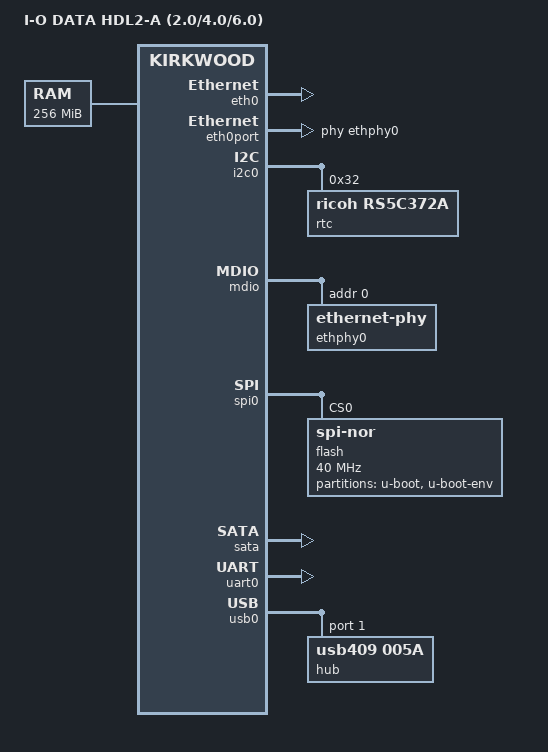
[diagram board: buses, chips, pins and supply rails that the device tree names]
// SPDX-License-Identifier: GPL-2.0-or-later OR MIT

/dts-v1/;

#include "kirkwood.dtsi"
#include "kirkwood-6282.dtsi"

/ {
	model = "I-O DATA HDL2-A (2.0/4.0/6.0)";
	compatible = "iodata,hdl2-a", "marvell,kirkwood-88f6282", "marvell,kirkwood";

/*	aliases {
		led-boot = &led_status_green;
		led-failsafe = &led_status_red;
		led-running = &led_status_green;
		led-upgrade = &led_status_red;
	};*/

	chosen {
		bootargs = "console=ttyS0,115200";
		stdout-path = &uart0;
	};

	memory@0 {
		device_type = "memory";
		reg = <0x00000000 0x10000000>;
	};

/*	keys {
		compatible = "gpio-keys";
		pinctrl-0 = <&pmx_buttons>;
		pinctrl-names = "default";

		power {
			label = "Power Button";
			linux,code = <KEY_POWER>;
			gpios = <&gpio1 16 GPIO_ACTIVE_HIGH>;
		};

		reset {
			label = "Reset Button";
			linux,code = <KEY_RESTART>;
			gpios = <&gpio1 17 GPIO_ACTIVE_LOW>;
		};

		usb1 {
			label = "USB1 Button";
			linux,code = <BTN_0>;
			gpios = <&gpio0 28 GPIO_ACTIVE_LOW>;
		};

		usb2 {
			label = "USB2 Button";
			linux,code = <BTN_1>;
			gpios = <&gpio0 29 GPIO_ACTIVE_LOW>;
		};
	};*/

/*	gpio-poweroff {
		compatible = "gpio-poweroff";
		pinctrl-0 = <&pmx_poweroff>;
		pinctrl-names = "default";
		gpios = <&gpio1 2 GPIO_ACTIVE_HIGH>;
	};*/

/*	leds {
		compatible = "gpio-leds";
		pinctrl-0 = <&pmx_leds>;
		pinctrl-names = "default";

		led_status_green: status-green {
			label = "green:status";
			gpios = <&gpio1 7 GPIO_ACTIVE_LOW>;
		};

		led_status_red: status-red {
			label = "red:status";
			gpios = <&gpio1 6 GPIO_ACTIVE_LOW>;
		};

		cloud-blue {
			label = "blue:cloud";
			gpios = <&gpio1 8 GPIO_ACTIVE_LOW>;
		};

		disk1-green {
			label = "green:disk1";
			gpios = <&gpio0 15 GPIO_ACTIVE_LOW>;
			linux,default-trigger = "ata1";
		};

		disk1-red {
			label = "red:disk1";
			gpios = <&gpio0 17 GPIO_ACTIVE_LOW>;
		};

		disk2-green {
			label = "green:disk2";
			gpios = <&gpio0 16 GPIO_ACTIVE_LOW>;
			linux,default-trigger = "ata2";
		};

		disk2-red {
			label = "red:disk2";
			gpios = <&gpio0 14 GPIO_ACTIVE_LOW>;
		};

		disk-fail-green {
			label = "green:disk-fail";
			gpios = <&gpio1 11 GPIO_ACTIVE_LOW>;
		};

		disk-fail-red {
			label = "red:disk-fail";
			gpios = <&gpio1 10 GPIO_ACTIVE_LOW>;
		};

		usb1-green {
			label = "green:usb1";
			gpios = <&gpio1 13 GPIO_ACTIVE_LOW>;
			linux,default-trigger = "usbport";
			trigger-sources = <&hub_port2>;
		};

		usb1-red {
			label = "red:usb1";
			gpios = <&gpio1 12 GPIO_ACTIVE_LOW>;
		};

		usb2-green {
			label = "green:usb2";
			gpios = <&gpio1 15 GPIO_ACTIVE_LOW>;
			linux,default-trigger = "usbport";
			trigger-sources = <&hub_port1>;
		};

		usb2-red {
			label = "red:usb2";
			gpios = <&gpio1 14 GPIO_ACTIVE_LOW>;
		};
	};*/
};

&eth0 {
	status = "okay";
};

&eth0port {
	phy-handle = <&ethphy0>;
};

&i2c0 {
	status = "okay";

	rtc@32 {
		compatible = "ricoh,rs5c372a";
		reg = <0x32>;
	};
};

&mdio {
	status = "okay";

	ethphy0: ethernet-phy@0 {
		reg = <0>;
	};
};

&spi0 {
	status = "okay";

	flash@0 {
		compatible = "jedec,spi-nor";
		spi-max-frequency = <40000000>;
		reg = <0>;

		partitions {
			compatible = "fixed-partitions";
			#address-cells = <1>;
			#size-cells = <1>;

			partition@0 {
				label = "u-boot";
				reg = <0x00000 0x70000>;
				read-only;
			};

			partition@1 {
				label = "u-boot-env";
				reg = <0x70000 0x10000>;
				read-only;
			};
		};
	};
};


&pinctrl {
	/* buzzer gpios are connected to two pins of buzzer
	 * leave it as is due lack of proper driver
	 */
	pmx_buzzer: pmx-buzzer {
		marvell,pins = "mpp12", "mpp13";
		marvell,function = "gpio";
	};

	pmx_leds: pmx-leds {
		marvell,pins = "mpp14", "mpp15", "mpp16", "mpp17", "mpp38",
			       "mpp39", "mpp40", "mpp42", "mpp43", "mpp44",
			       "mpp45", "mpp46", "mpp47";
		marvell,function = "gpio";
	};

	pmx_buttons: pmx-buttons {
		marvell,pins = "mpp28", "mpp29", "mpp48", "mpp49";
		marvell,function = "gpio";
	};

	pmx_poweroff: pmx-poweroff {
		marvell,pins = "mpp34";
		marvell,function = "gpio";
	};
};

&rtc {
	status = "disabled";
};

&sata {
	status = "okay";
	nr-ports = <2>;
};

&uart0 {
	status = "okay";
};

&usb0 {
	#address-cells = <1>;
	#size-cells = <0>;
	status = "okay";

	hub@1 {
		compatible = "usb409,005a";
		reg = <1>;
		#address-cells = <1>;
		#size-cells = <0>;

		port@1 {
			reg = <1>;
		};

		port@2 {
			reg = <2>;
		};
	};
};
